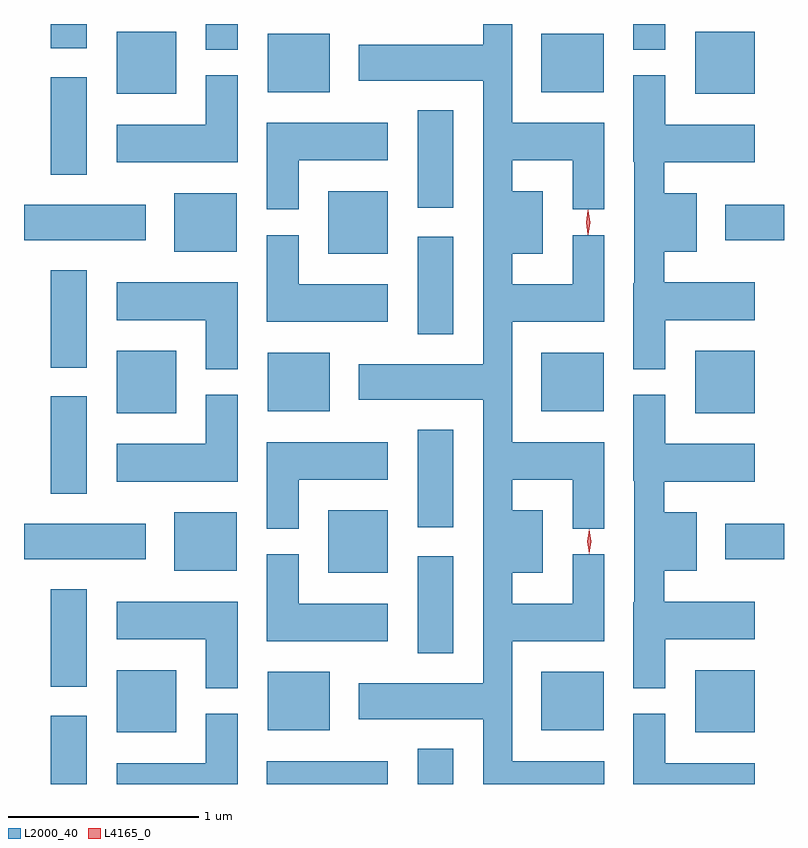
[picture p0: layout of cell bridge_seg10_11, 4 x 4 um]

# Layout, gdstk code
import gdstk
lib = gdstk.Library(unit=1e-6, precision=1e-09)
def R(c, l, rs):  # rectangles x0, y0, x1, y1
    for r in rs: c.add(gdstk.rectangle(r[:2], r[2:], *l))
def A(c, l, x, y, w, h, nx, ny, dx, dy):  # array of equal rectangles
    R(c, l, [(x+i*dx, y+j*dy, x+i*dx+w, y+j*dy+h) for i in range(nx) for j in range(ny)])
def P(c, l, *ps):  # polygons
    for p in ps: c.add(gdstk.Polygon(p, *l))
L2000_40 = (2000, 40)
L4165_0 = (4165, 0)

bridge_seg10_11 = lib.new_cell('bridge_seg10_11')
A(bridge_seg10_11, L2000_40, 1910.311, 2176.566, 0.313, 0.328, 1, 3, 0, 1.68)
A(bridge_seg10_11, L2000_40, 1913.356, 2176.566, 0.313, 0.328, 1, 3, 0, 1.68)
A(bridge_seg10_11, L2000_40, 1911.106, 2176.576, 0.328, 0.308, 1, 3, 0, 1.68)
A(bridge_seg10_11, L2000_40, 1912.546, 2176.576, 0.328, 0.308, 1, 3, 0, 1.68)
R(bridge_seg10_11, L2000_40, [(1909.966,2176.294,1910.154,2176.654), (1911.101,2176.294,1911.739,2176.414), (1911.896,2176.294,1912.084,2176.479), (1909.966,2176.806,1910.154,2177.319), (1911.896,2176.981,1912.084,2177.494), (1911.426,2177.406,1911.739,2177.734), (1910.616,2177.416,1910.944,2177.724), (1909.824,2177.476,1910.464,2177.664), (1913.516,2177.476,1913.824,2177.664), (1911.896,2177.646,1912.084,2178.159), (1909.966,2177.821,1910.154,2178.334), (1909.966,2178.486,1910.154,2178.999), (1911.896,2178.661,1912.084,2179.174), (1911.426,2179.086,1911.739,2179.414), (1910.616,2179.096,1910.944,2179.404), (1909.824,2179.156,1910.464,2179.344), (1913.516,2179.156,1913.824,2179.344), (1911.896,2179.326,1912.084,2179.839), (1909.966,2179.501,1910.154,2180.014), (1910.781,2180.158,1910.949,2180.294), (1913.031,2180.158,1913.199,2180.294), (1909.966,2180.166,1910.154,2180.294)])
P(bridge_seg10_11, L2000_40, [(1912.879,2176.414),(1912.394,2176.414),(1912.394,2177.046),(1912.879,2177.046),(1912.879,2177.503),(1912.711,2177.503),(1912.711,2177.244),(1912.394,2177.244),(1912.394,2177.406),(1912.554,2177.406),(1912.554,2177.734),(1912.394,2177.734),(1912.394,2177.896),(1912.711,2177.896),(1912.711,2177.638),(1912.879,2177.638),(1912.879,2178.094),(1912.394,2178.094),(1912.394,2178.726),(1912.879,2178.726),(1912.879,2179.183),(1912.711,2179.183),(1912.711,2178.924),(1912.394,2178.924),(1912.394,2179.086),(1912.554,2179.086),(1912.554,2179.414),(1912.394,2179.414),(1912.394,2179.576),(1912.711,2179.576),(1912.711,2179.318),(1912.879,2179.318),(1912.879,2179.774),(1912.394,2179.774),(1912.394,2180.294),(1912.241,2180.294),(1912.241,2180.184),(1911.586,2180.184),(1911.586,2179.996),(1912.241,2179.996),(1912.241,2178.504),(1911.586,2178.504),(1911.586,2178.316),(1912.241,2178.316),(1912.241,2176.824),(1911.586,2176.824),(1911.586,2176.636),(1912.241,2176.636),(1912.241,2176.294),(1912.879,2176.294)],
  [(1910.949,2180.023),(1910.781,2180.023),(1910.781,2179.764),(1910.311,2179.764),(1910.311,2179.566),(1910.949,2179.566)],
  [(1913.199,2178.736),(1913.669,2178.736),(1913.669,2178.934),(1913.194,2178.934),(1913.194,2179.096),(1913.364,2179.096),(1913.364,2179.404),(1913.194,2179.404),(1913.194,2179.566),(1913.669,2179.566),(1913.669,2179.764),(1913.199,2179.764),(1913.199,2180.023),(1913.031,2180.023),(1913.031,2179.57),(1913.036,2179.57),(1913.036,2178.93),(1913.031,2178.93),(1913.031,2178.478),(1913.199,2178.478)],
  [(1911.269,2179.576),(1911.739,2179.576),(1911.739,2179.774),(1911.101,2179.774),(1911.101,2179.318),(1911.269,2179.318)],
  [(1911.739,2178.924),(1911.269,2178.924),(1911.269,2179.183),(1911.101,2179.183),(1911.101,2178.726),(1911.739,2178.726)],
  [(1910.949,2178.934),(1910.311,2178.934),(1910.311,2178.736),(1910.781,2178.736),(1910.781,2178.478),(1910.949,2178.478)],
  [(1913.199,2177.056),(1913.669,2177.056),(1913.669,2177.254),(1913.194,2177.254),(1913.194,2177.416),(1913.364,2177.416),(1913.364,2177.724),(1913.194,2177.724),(1913.194,2177.886),(1913.669,2177.886),(1913.669,2178.084),(1913.199,2178.084),(1913.199,2178.343),(1913.031,2178.343),(1913.031,2177.89),(1913.036,2177.89),(1913.036,2177.25),(1913.031,2177.25),(1913.031,2176.798),(1913.199,2176.798)],
  [(1910.949,2178.343),(1910.781,2178.343),(1910.781,2178.084),(1910.311,2178.084),(1910.311,2177.886),(1910.949,2177.886)],
  [(1911.269,2177.896),(1911.739,2177.896),(1911.739,2178.094),(1911.101,2178.094),(1911.101,2177.638),(1911.269,2177.638)],
  [(1911.739,2177.244),(1911.269,2177.244),(1911.269,2177.503),(1911.101,2177.503),(1911.101,2177.046),(1911.739,2177.046)],
  [(1910.949,2177.254),(1910.311,2177.254),(1910.311,2177.056),(1910.781,2177.056),(1910.781,2176.798),(1910.949,2176.798)],
  [(1913.669,2176.404),(1913.199,2176.404),(1913.199,2176.663),(1913.031,2176.663),(1913.031,2176.294),(1913.669,2176.294)],
  [(1910.949,2176.663),(1910.781,2176.663),(1910.781,2176.404),(1910.311,2176.404),(1910.311,2176.294),(1910.949,2176.294)])
P(bridge_seg10_11, L4165_0, [(1912.799,2177.504),(1912.798,2177.505),(1912.789,2177.57),(1912.798,2177.635),(1912.799,2177.636),(1912.799,2177.635),(1912.809,2177.57),(1912.799,2177.505)],
  [(1912.793,2179.184),(1912.792,2179.185),(1912.783,2179.25),(1912.792,2179.315),(1912.793,2179.316),(1912.793,2179.315),(1912.803,2179.25),(1912.793,2179.185)])

lib.write_gds('bridge_seg10_11.gds')
